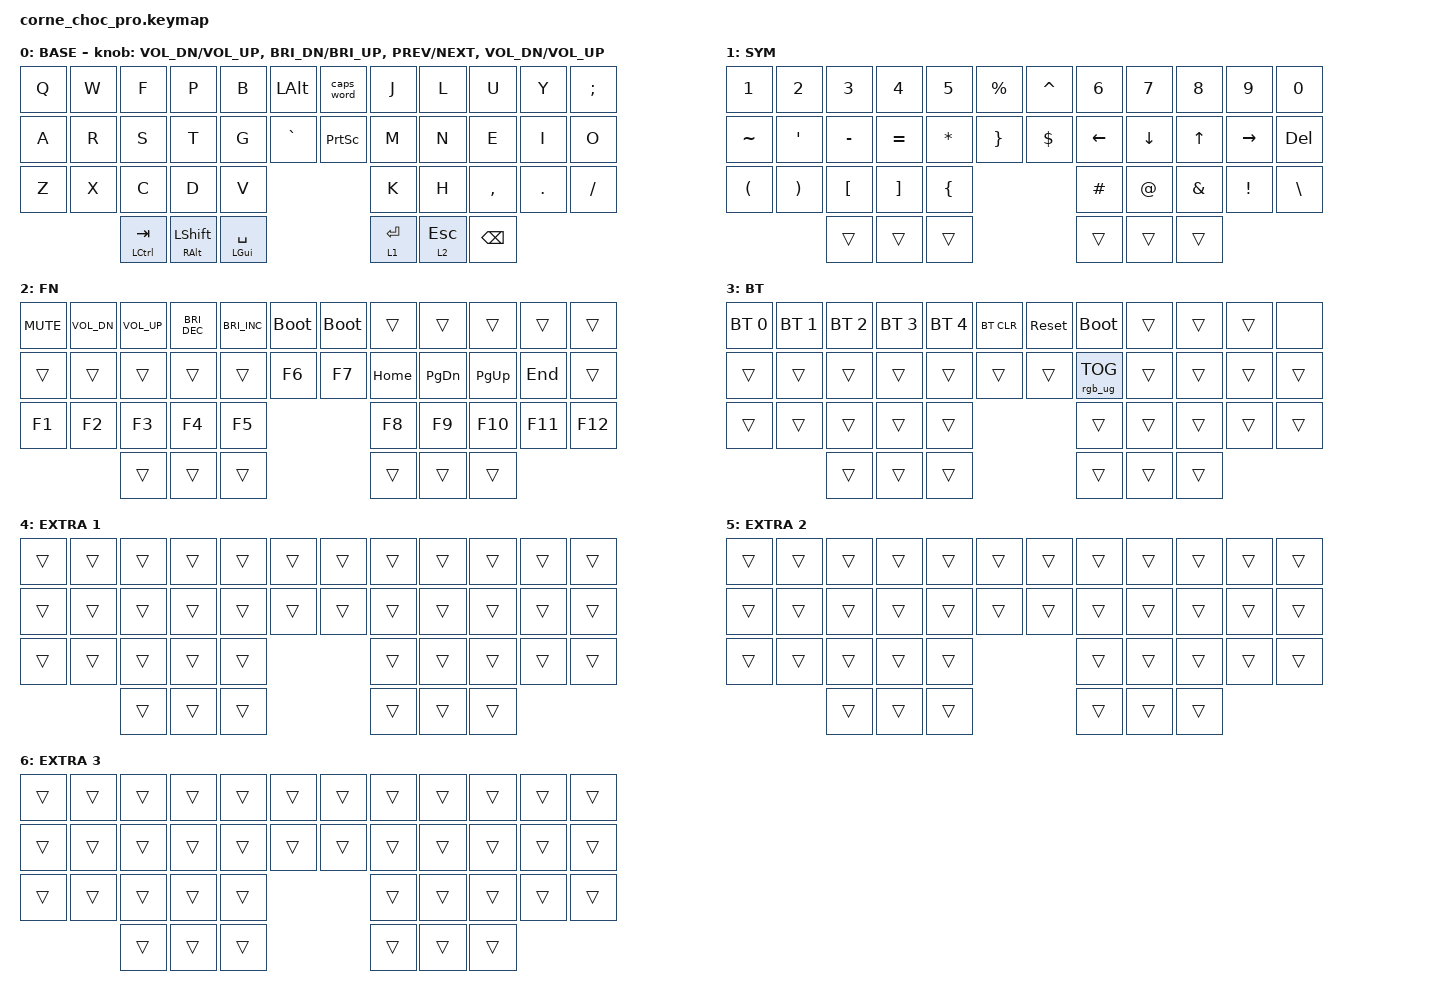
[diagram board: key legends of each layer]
/*
 * Copyright (c) 2020 The ZMK Contributors
 *
 * SPDX-License-Identifier: MIT
 *
 * Keymap translated from corne-keymaps.vil (Vial/QMK) → ZMK
 * Layout: Colemak-DH variant, 3 primary layers + BT/system layer
 *
 * Thumb mapping:
 *   Left:  &mt RIGHT_ALT TAB | &mst LCTRL LSHFT | &mt LEFT_GUI SPACE
 *   Right: &lt 1 RET | &lt 2 ESC | &kp BACKSPACE
 *   MST: tap=sticky LSHFT, hold=LCTRL (mod sticky tap)
 *
 * Left encoder (row 0-1): volume up/down
 * Right encoder: brightness (configured per layer via sensor-bindings)
 */

#include <behaviors.dtsi>
#include <dt-bindings/zmk/bt.h>
#include <dt-bindings/zmk/keys.h>
#include <dt-bindings/zmk/rgb.h>

/ {
    chosen { zmk,physical-layout = &five_col_layout; };

    behaviors {
        /* MST: mod sticky tap (hold = LCTRL, tap = sticky LSHFT) */

        mst: mod_sticky_tap {
            compatible = "zmk,behavior-hold-tap";
            label = "MST";
            #binding-cells = <2>;
            flavor = "tap-preferred";
            tapping-term-ms = <200>;
            bindings = <&kp>, <&sk>;
        };
    };

    /*
     * Combo: left-thumb inner (36) + right-thumb outer (39) → BT layer (layer 3)
     * Combo: left-thumb mid (35) + right-thumb mid (38) → FN layer (layer 2)
     * Key positions on Corne Choc Pro 5-col (0-indexed, 40 keys total):
     *   Row 0: 0-11, Row 1: 12-23, Row 2: 24-33, Thumbs: 34-39 (L0=34, L1=35, L2=36, R0=37, R1=38, R2=39)
     */

    combos {
        compatible = "zmk,combos";

        combo_bt {
            timeout-ms = <50>;
            key-positions = <36 39>;
            bindings = <&mo 3>;
        };

        combo_fn {
            timeout-ms = <50>;
            key-positions = <35 38>;
            bindings = <&mo 2>;
        };
    };

    keymap {
        compatible = "zmk,keymap";

        // ════════════════════════════════════════════════════════════════════
        // Layer 0 – BASE (Colemak-DH variant)
        // ════════════════════════════════════════════════════════════════════

        default_layer {
            display-name = "BASE";
            bindings = <
  &kp Q  &kp W  &kp F          &kp P            &kp B               &kp LEFT_ALT  &caps_word       &kp J      &kp L      &kp U          &kp Y    &kp SEMI
  &kp A  &kp R  &kp S          &kp T            &kp G               &kp GRAVE     &kp PRINTSCREEN  &kp M      &kp N      &kp E          &kp I    &kp O
  &kp Z  &kp X  &kp C          &kp D            &kp V                                              &kp K      &kp H      &kp COMMA      &kp DOT  &kp FSLH
                &mt LCTRL TAB  &mst RALT LSHFT  &mt LEFT_GUI SPACE                                 &lt 1 RET  &lt 2 ESC  &kp BACKSPACE
            >;

            sensor-bindings = <
                &inc_dec_kp C_VOL_DN C_VOL_UP
                &inc_dec_kp C_BRI_DN C_BRI_UP
                &inc_dec_kp C_PREV C_NEXT
                &inc_dec_kp C_VOL_DN C_VOL_UP
            >;
        };

        // ════════════════════════════════════════════════════════════════════
        // Layer 1 – SYM / NAV  (activated via &lt 1 RET on right thumb)
        // ════════════════════════════════════════════════════════════════════

        sym_layer {
            display-name = "SYM";
            bindings = <
  &kp N1                &kp N2                 &kp N3     &kp N4     &kp N5          &kp PERCENT      &kp CARET   &kp N6    &kp N7    &kp N8    &kp N9     &kp N0
  &kp TILDE             &kp SQT                &kp MINUS  &kp EQUAL  &kp ASTRK       &kp RIGHT_BRACE  &kp DOLLAR  &kp LEFT  &kp DOWN  &kp UP    &kp RIGHT  &kp DEL
  &kp LEFT_PARENTHESIS  &kp RIGHT_PARENTHESIS  &kp LBKT   &kp RBKT   &kp LEFT_BRACE                               &kp HASH  &kp AT    &kp AMPS  &kp EXCL   &kp BACKSLASH
                                               &trans     &trans     &trans                                       &trans    &trans    &trans
            >;
        };

        // ════════════════════════════════════════════════════════════════════
        // Layer 2 – FN / MEDIA  (activated via combo: both inner thumbs)
        //
        // Left: media + brightness keys, F1-F5
        // Right: F6-F12, page navigation
        // ════════════════════════════════════════════════════════════════════

        fn_layer {
            display-name = "FN";
            bindings = <
  &kp C_MUTE  &kp C_VOL_DN  &kp C_VOL_UP  &kp C_BRI_DEC  &kp C_BRI_INC  &bootloader  &bootloader  &trans    &trans     &trans     &trans   &trans
  &trans      &trans        &trans        &trans         &trans         &kp F6       &kp F7       &kp HOME  &kp PG_DN  &kp PG_UP  &kp END  &trans
  &kp F1      &kp F2        &kp F3        &kp F4         &kp F5                                   &kp F8    &kp F9     &kp F10    &kp F11  &kp F12
                            &trans        &trans         &trans                                   &trans    &trans     &trans
            >;
        };

        // ════════════════════════════════════════════════════════════════════
        // Layer 3 – BT / SYSTEM  (combo: outer left + outer right thumb)
        //
        // BT profile selection, clear, reset, bootloader, studio unlock
        // ════════════════════════════════════════════════════════════════════

        bt_layer {
            display-name = "BT";
            bindings = <
  &bt BT_SEL 0  &bt BT_SEL 1  &bt BT_SEL 2  &bt BT_SEL 3  &bt BT_SEL 4  &bt BT_CLR  &sys_reset  &bootloader      &trans  &trans  &trans  &none
  &trans        &trans        &trans        &trans        &trans        &trans      &trans      &rgb_ug RGB_TOG  &trans  &trans  &trans  &trans
  &trans        &trans        &trans        &trans        &trans                                &trans           &trans  &trans  &trans  &trans
                              &trans        &trans        &trans                                &trans           &trans  &trans
            >;
        };

        extra_layer_1 {
            display-name = "EXTRA 1";
            bindings = <
  &trans  &trans  &trans  &trans  &trans  &trans  &trans  &trans  &trans  &trans  &trans  &trans
  &trans  &trans  &trans  &trans  &trans  &trans  &trans  &trans  &trans  &trans  &trans  &trans
  &trans  &trans  &trans  &trans  &trans                  &trans  &trans  &trans  &trans  &trans
                  &trans  &trans  &trans                  &trans  &trans  &trans
            >;
        };

        extra_layer_2 {
            display-name = "EXTRA 2";
            bindings = <
  &trans  &trans  &trans  &trans  &trans  &trans  &trans  &trans  &trans  &trans  &trans  &trans
  &trans  &trans  &trans  &trans  &trans  &trans  &trans  &trans  &trans  &trans  &trans  &trans
  &trans  &trans  &trans  &trans  &trans                  &trans  &trans  &trans  &trans  &trans
                  &trans  &trans  &trans                  &trans  &trans  &trans
            >;
        };

        extra_layer_3 {
            display-name = "EXTRA 3";
            bindings = <
  &trans  &trans  &trans  &trans  &trans  &trans  &trans  &trans  &trans  &trans  &trans  &trans
  &trans  &trans  &trans  &trans  &trans  &trans  &trans  &trans  &trans  &trans  &trans  &trans
  &trans  &trans  &trans  &trans  &trans                  &trans  &trans  &trans  &trans  &trans
                  &trans  &trans  &trans                  &trans  &trans  &trans
            >;
        };
    };
};
